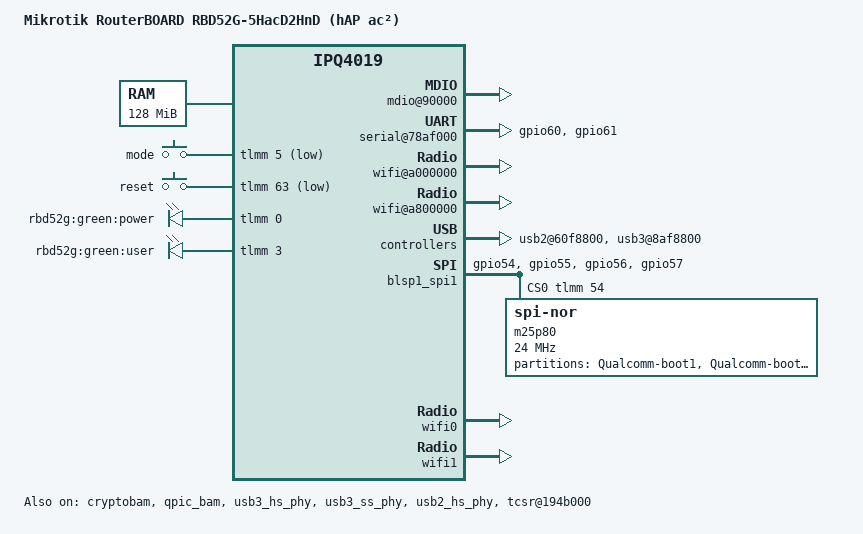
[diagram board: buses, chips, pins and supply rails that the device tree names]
/* Copyright (c) 2015, The Linux Foundation. All rights reserved.
 * Copyright (c) 2019, Robert Marko <robimarko@gmail.com>
 *
 * Permission to use, copy, modify, and/or distribute this software for any
 * purpose with or without fee is hereby granted, provided that the above
 * copyright notice and this permission notice appear in all copies.
 *
 * THE SOFTWARE IS PROVIDED "AS IS" AND THE AUTHOR DISCLAIMS ALL WARRANTIES
 * WITH REGARD TO THIS SOFTWARE INCLUDING ALL IMPLIED WARRANTIES OF
 * MERCHANTABILITY AND FITNESS. IN NO EVENT SHALL THE AUTHOR BE LIABLE FOR
 * ANY SPECIAL, DIRECT, INDIRECT, OR CONSEQUENTIAL DAMAGES OR ANY DAMAGES
 * WHATSOEVER RESULTING FROM LOSS OF USE, DATA OR PROFITS, WHETHER IN AN
 * ACTION OF CONTRACT, NEGLIGENCE OR OTHER TORTIOUS ACTION, ARISING OUT OF
 * OR IN CONNECTION WITH THE USE OR PERFORMANCE OF THIS SOFTWARE.
 *
 */

#include "qcom-ipq4019.dtsi"
#include <dt-bindings/gpio/gpio.h>
#include <dt-bindings/input/input.h>
#include <dt-bindings/soc/qcom,tcsr.h>

/ {
	model = "Mikrotik RouterBOARD RBD52G-5HacD2HnD (hAP ac²)";
	compatible = "mikrotik,rbd52g";

	memory {
		device_type = "memory";
		/* The board has 128 MiB of RAM (but the FCC filing had 256 MiB) */
		reg = <0x80000000 0x08000000>;
	};

	chosen {
		stdout-path = "serial0:115200n8";
	};

	aliases {
		led-boot = &user;
		led-failsafe = &user;
		led-running = &user;
		led-upgrade = &user;
	};

	soc {
		rng@22000 {
			status = "okay";
		};

		mdio@90000 {
			status = "okay";
		};

		ess-psgmii@98000 {
			status = "okay";
		};

		counter@4a1000 {
			compatible = "qcom,qca-gcnt";
			reg = <0x4a1000 0x4>;
		};

		tcsr@1949000 {
			compatible = "qcom,tcsr";
			reg = <0x1949000 0x100>;
			qcom,wifi_glb_cfg = <TCSR_WIFI_GLB_CFG>;
		};

		tcsr@194b000 {
			/* select hostmode */
			compatible = "qcom,tcsr";
			reg = <0x194b000 0x100>;
			qcom,usb-hsphy-mode-select = <TCSR_USB_HSPHY_HOST_MODE>;
			status = "okay";
		};

		ess_tcsr@1953000 {
			compatible = "qcom,tcsr";
			reg = <0x1953000 0x1000>;
			qcom,ess-interface-select = <TCSR_ESS_PSGMII>;
		};

		tcsr@1957000 {
			compatible = "qcom,tcsr";
			reg = <0x1957000 0x100>;
			qcom,wifi_noc_memtype_m0_m2 = <TCSR_WIFI_NOC_MEMTYPE_M0_M2>;
		};

		serial@78af000 {
			pinctrl-0 = <&serial_pins>;
			pinctrl-names = "default";
			status = "okay";
		};

		crypto@8e3a000 {
			status = "okay";
		};

		wifi@a000000 {
			status = "okay";
		};

		wifi@a800000 {
			status = "okay";
		};

		usb2@60f8800 {
			status = "okay";
		};

		usb3@8af8800 {
			status = "okay";
		};

		watchdog@b017000 {
			status = "okay";
		};

		ess-switch@c000000 {
			status = "okay";
		};

		edma@c080000 {
			status = "okay";
		};
	};

	keys {
		compatible = "gpio-keys";

		mode {
			label = "mode";
			gpios = <&tlmm 5 GPIO_ACTIVE_LOW>;
			linux,code = <KEY_RFKILL>;
		};

		reset {
			label = "reset";
			gpios = <&tlmm 63 GPIO_ACTIVE_LOW>;
			linux,code = <KEY_RESTART>;
		};
	};

	leds {
		compatible = "gpio-leds";

		power: power {
			label = "rbd52g:green:power";
			gpios = <&tlmm 0 GPIO_ACTIVE_HIGH>;
			default-state = "keep";
			panic-indicator;
		};

		user: user {
			label = "rbd52g:green:user";
			gpios = <&tlmm 3 GPIO_ACTIVE_HIGH>;
		};
	};
};


&tlmm {
	serial_pins: serial_pinmux {
		mux {
			pins = "gpio60", "gpio61";
			function = "blsp_uart0";
			bias-disable;
		};
	};

	spi_0_pins: spi_0_pinmux {
		pin {
			function = "blsp_spi0";
			pins = "gpio54", "gpio55", "gpio56", "gpio57";
			bias-disable;
		};
		pin_cs {
			function = "gpio";
			pins = "gpio54";
			bias-disable;
			output-high;
		};
	};
};

&blsp_dma {
	status = "okay";
};

&blsp1_spi1 {
	pinctrl-0 = <&spi_0_pins>;
	pinctrl-names = "default";
	cs-gpios = <&tlmm 54 GPIO_ACTIVE_HIGH>;
	status = "okay";

	m25p80@0 {
		reg = <0>;
		compatible = "jedec,spi-nor";
		spi-max-frequency = <24000000>;

		partitions {
			compatible = "fixed-partitions";
			#address-cells = <1>;
			#size-cells = <1>;

			partition0@0 {
				label = "Qualcomm-boot1";
				reg = <0x00000000 0x23000>;
				read-only;
			};

			partition1@23000 {
				label = "Qualcomm-boot2";
				reg = <0x00023000 0x5d000>;
				read-only;
			};

			partition2@80000 {
				label = "RouterBoot";
				reg = <0x00080000 0x0e000>;
				read-only;
			};

			partition3@8e000 {
				label = "hard_config";
				reg = <0x0008e000 0x01000>;
			};

			partition4@90000 {
				label = "dts_config";
				reg = <0x00090000 0x10000>;
				read-only;
			};

			partition5@bd000 {
				label = "soft_config";
				reg = <0x000bd000 0x01000>;
			};

			partition6@100000 {
				compatible = "mikrotik,minor";
				label = "firmware";
				reg = <0x00100000 0xf00000>;
			};
		};
	};

};

&cryptobam {
	status = "okay";
};

&qpic_bam {
	status = "okay";
};

&wifi0 {
        status = "okay";
        qcom,ath10k-calibration-variant = "MikroTik-RBD52G-5HacD2HnD";
};

&wifi1 {
        status = "okay";
        qcom,ath10k-calibration-variant = "MikroTik-RBD52G-5HacD2HnD";
};

&usb3_hs_phy {
	status = "okay";
};

&usb3_ss_phy {
        status = "okay";
};

&usb2_hs_phy {
	status = "okay";
};
